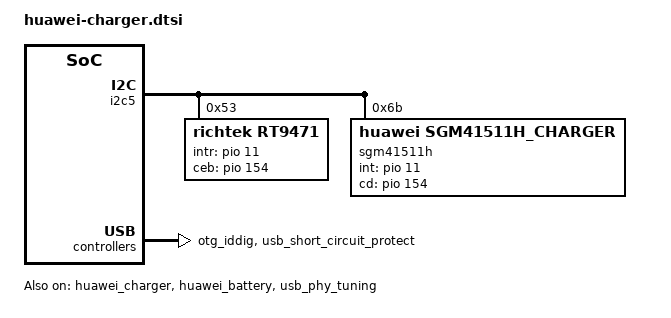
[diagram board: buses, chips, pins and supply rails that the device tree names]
&i2c5 {
	rt9471@53 {
		compatible = "richtek,rt9471";
		status = "okay";
		reg = <0x53>;
		rt,intr_gpio = <&pio 11 0>;
		rt,ceb_gpio = <&pio 154 0>;
		charger_name = "rt9471";
		rm-slave-addr = /bits/ 8 <0x53>;
		rm-name = "rt9471";
		interrupt-names = "wdt", "vac_ov", "otg_fault";
		ichg = <1000>; /* mA */
		aicr = <500>; /* mA */
		mivr = <4400>; /* mV */
		cv = <4400>; /* mV */
		ieoc = <150>; /* mA */
		safe-tmr = <20>; /* hour */
		wdt = <40>; /* sec */
		mivr-track = <0>;
		en-safe-tmr;
		en-te;
		en-qon-rst;
	};

	sgm41511h@6b {
		compatible = "huawei,sgm41511h_charger";
		status = "okay";
		reg = <0x6B>;
		gpio_int = <&pio 11 0>;
		gpio_cd = <&pio 154 0>;
	};
};

&charger {
	ac_charger_current = <2695000>;
	ac_charger_input_current = <2300000>;
	non_std_ac_charger_current = <1200000>;
	dpm_enable;
	dynamic_cv_en;
	battery_cv = <4410000>;
	iterm = <150000>;
	jeita_temp_t2_to_t3_cv = <4410000>;
	jeita_temp_t1_to_t2_cv = <4410000>;
	jeita_temp_t0_to_t1_cv = <4410000>;
	jeita_temp_t2_to_t3_cur = <2695000>;
	vdpm_buf_limit = <100>;
	vdpm_para =
			"-32767", "4000", "4300", "50",
			"4000", "4200", "4500", "50",
			"4200", "32767", "4600", "50";
};

&huawei_charger {
	compatible = "huawei,charger";
	status = "okay";
};

&huawei_battery {
	compatible = "huawei,battery";
	voltage_max_design = <4410000>;
	status = "okay";
};

&lk_charger{
	ac_charger_current = <1050000>;
	ac_charger_input_current = <1050000>;
	non_std_ac_charger_current = <1050000>;
	is_power_path;
};

&mt6370_pmu{
	charger {
		status = "disabled";
	};
};

&otg_iddig {
	interrupt-parent = <&pio>;
	interrupts = <41 IRQ_TYPE_LEVEL_LOW 41 0>;
	status = "okay";
};

&bat_gm30 {
	bat_para =
			"DeasyCoslight_137", "130000", "220000",
			"ScudAtl", "250000", "350000",
			"NvtAtl", "400000", "510000",
			"DeasyCoslight_147", "590000", "690000",
			"SwdByd", "830000", "960000";
	batt_id_channel = <4>;
	dlpt_optimization;
	#include "../desay_coslight_137_4v40_4900mah_ext.dtsi"
	#include "../scud_atl_4v40_4900mah_ext.dtsi"
	#include "../nvt_atl_4v40_4900mah_ext.dtsi"
	#include "../desay_coslight_147_4v43_4900mah_ext.dtsi"
	#include "../sunwoda_byd_4v40_4900mah_ext.dtsi"
};

&usb_short_circuit_protect{
	status = "okay";
};

&usb_phy_tuning {
	status = "okay";
};
